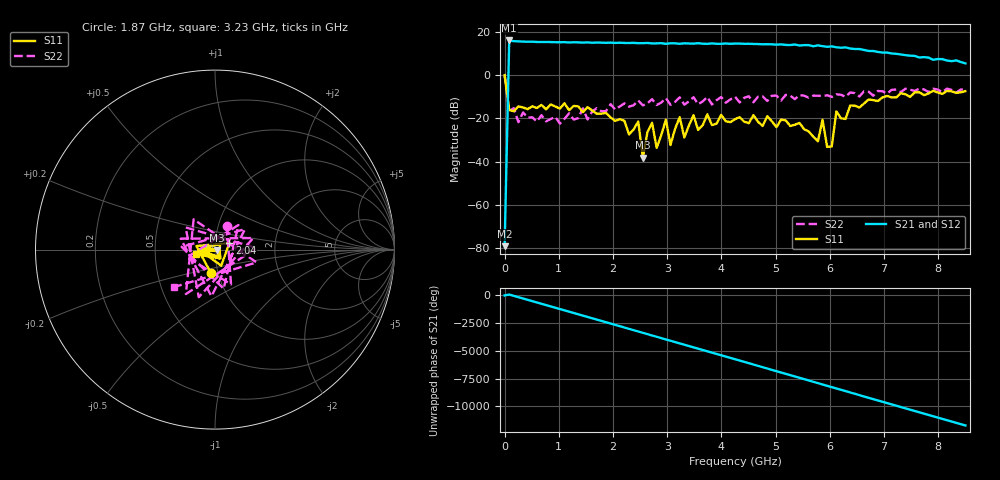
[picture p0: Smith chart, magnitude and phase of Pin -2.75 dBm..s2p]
! RsaToolbox (C) 2013 Rohde & Schwarz America
! Number of points: 101
! Number of ports: 2
! Balanced ports?: 0
# Hz S RI R 50
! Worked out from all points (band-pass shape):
!   101 points, 9 kHz to 8.5 GHz, reference 50 ohm
!   highest |S21| = 16.03 dB at 85.01 MHz (marker M1); lowest = -79.0 dB at 9 kHz (marker M2)
!   |S21| within 3 dB of the highest: 82.33 MHz to 6.089 GHz (6.007 GHz wide, 195 % of centre)
!   lowest |S11| = -38.0 dB at 2.55 GHz (marker M3), VSWR 1.03, Z = 51.2 - j0.395 ohm
!   |S11| at or under -10 dB: 52.88 MHz to 7.007 GHz (6.955 GHz wide, 197 % of centre); 7.103 GHz to 7.237 GHz (134.6 MHz wide, 1.88 % of centre); 7.478992 GHz to 7.480591 GHz (1.599 MHz wide, 0.0214 % of centre)
!   |S22| runs from -22.4 to 0.1 dB; largest |S21 - S12| = 0
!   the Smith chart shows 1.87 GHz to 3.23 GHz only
!   S11 on the Smith chart (normalised r, x): 1.87 GHz: 0.93, -0.25; 2.04 GHz: 1.17, +0.09; 3.23 GHz: 0.81, -0.04
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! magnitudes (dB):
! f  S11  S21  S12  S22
! 9 kHz  0.0  -79.0  -79.0  0.1
! 85.01 MHz  -16.1  16.0  16.0  -16.6
! 1.445 GHz  -17.1  15.0  15.0  -15.3
! 1.87 GHz  -17.4  14.9  14.9  -16.6
! 2.04 GHz  -21.1  14.9  14.9  -15.9
! 2.465 GHz  -21.4  14.8  14.8  -11.7
! 2.55 GHz  -38.0  14.8  14.8  -14.0
! 2.72 GHz  -22.0  14.7  14.7  -11.1
! 2.805 GHz  -33.6  14.7  14.7  -13.8
! 2.89 GHz  -27.7  14.8  14.8  -12.7
! 2.975 GHz  -20.5  14.5  14.5  -10.6
! 3.06 GHz  -32.3  14.7  14.7  -13.7
! 3.23 GHz  -19.4  14.5  14.5  -10.2
! 3.315 GHz  -28.8  14.7  14.7  -13.6
! 3.485 GHz  -18.5  14.6  14.6  -10.2
! 4.25 GHz  -20.3  14.6  14.6  -9.9
! 5.695 GHz  -28.5  13.4  13.4  -9.5
! 5.865 GHz  -20.6  13.4  13.4  -9.6
! 6.035 GHz  -32.9  13.3  13.3  -10.1
! 6.12 GHz  -16.8  12.9  12.9  -8.8
! 7.14 GHz  -10.3  10.0  10.0  -6.8
! 8.5 GHz  -7.4  5.4  5.4  -6.7
